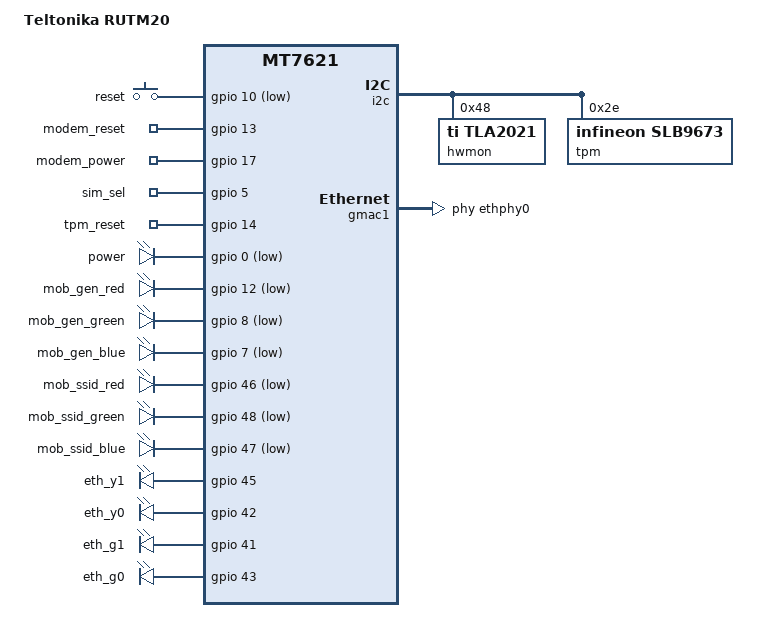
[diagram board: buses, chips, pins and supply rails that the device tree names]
#include "mt7621-teltonika-rutm-common.dtsi"

/ {
	compatible = "teltonika,rutm", "mediatek,mt7621-soc";
	model = "Teltonika RUTM20";

	keys {
		compatible = "gpio-keys";

		reset {
			label = "reset";
			gpios = <&gpio 10 GPIO_ACTIVE_LOW>;
			linux,code = <KEY_RESTART>;
		};
	};

	gpio-export {
		compatible = "gpio-export";
		#size-cells = <0>;

		gpio_modem_reset {
			gpio-export,name = "modem_reset";
			gpio-export,output = <0>;
			gpios = <&gpio 13 GPIO_ACTIVE_HIGH>;
		};

		gpio_modem_power {
			gpio-export,name = "modem_power";
			gpio-export,output = <1>; // tmp
			gpios = <&gpio 17 GPIO_ACTIVE_HIGH>;
		};

		gpio_sim_select {
			gpio-export,name = "sim_sel";
			gpio-export,output = <0>;
			gpios = <&gpio 5 GPIO_ACTIVE_HIGH>;
		};

		gpio_tpm_reset {
			gpio-export,name = "tpm_reset";
			gpio-export,output = <1>;
			gpios = <&gpio 14 GPIO_ACTIVE_HIGH>;
		};
	};

	leds {
		compatible = "gpio-leds";

		led_power {
			label = "power";
			gpios = <&gpio 0 GPIO_ACTIVE_LOW>;
			default-state = "on";
			retain-state-shutdown;
		};

		led_gen_red {
			label = "mob_gen_red";
			gpios = <&gpio 12 GPIO_ACTIVE_LOW>;
		};

		led_gen_green {
			label = "mob_gen_green";
			gpios = <&gpio 8 GPIO_ACTIVE_LOW>;
		};

		led_gen_blue {
			label = "mob_gen_blue";
			gpios = <&gpio 7 GPIO_ACTIVE_LOW>;
		};

		led_ssid_red {
			label = "mob_ssid_red";
			gpios = <&gpio 46 GPIO_ACTIVE_LOW>;
			linux,default-trigger = "timer"; // only
		};

		led_ssid_green {
			label = "mob_ssid_green";
			gpios = <&gpio 48 GPIO_ACTIVE_LOW>;
			linux,default-trigger = "timer"; //only
		};

		led_ssid_blue {
			label = "mob_ssid_blue";
			gpios = <&gpio 47 GPIO_ACTIVE_LOW>;
			linux,default-trigger = "timer"; // only
		};

		led_eth_y1 {
			label = "eth_y1";
			gpios = <&gpio 45 GPIO_ACTIVE_HIGH>;
		};

		led_eth_y0 {
			label = "eth_y0";
			gpios = <&gpio 42 GPIO_ACTIVE_HIGH>;
		};

		led_eth_g1 {
			label = "eth_g1";
			gpios = <&gpio 41 GPIO_ACTIVE_HIGH>;
		};

		led_eth_g0 {
			label = "eth_g0";
			gpios = <&gpio 43 GPIO_ACTIVE_HIGH>;
		};
	};

	tlt_gpios { // Modify according to wiki page "DTS syntax with Libgpiod changes"
		gpiochip_info {
			hw_0 {
				hwver = <0>;
				gpiochip_count = <3>;

				gpiochip_0 = <32>; // Built-in
				gpiochip_1 = <32>; // Built-in
				gpiochip_2 = <32>; // Built-in
			};
		};

		poeman {
			GPIO_16 {
				line_name = "GPIO_4PIN_SIGNAL";
				//active_low
			};
			GPIO_18 {
				line_name = "GPIO_T2P_SIGNAL";
			};
			GPIO_6 {
				line_name = "GPIO_PG_SIGNAL";
			};
			GPIO_44 {
				line_name = "GPIO_PSE_EN";
			};
		};

		misc {
			GPIO_13 {
				line_name = "GPIO_MODEM_RESET_1";
			};
			GPIO_17 {
				line_name = "GPIO_MODEM_POWER_1";
			};
		};
	};

	poeman {
		bus = "/dev/i2c-0";
		pse_en = "GPIO_PSE_EN";
		budget@0 {
			GPIO_PG_SIGNAL = <0>;
			budget = <0>;
		};
		budget@1 {
			GPIO_T2P_SIGNAL = <0>;
			GPIO_PG_SIGNAL = <1>;
			budget = <30200>;
			allowed_deficit = <600>;
		};
		budget@2 {
			GPIO_T2P_SIGNAL = <1>;
			GPIO_PG_SIGNAL = <1>;
			budget = <15000>;
			max_port_power = <7000>;
			allowed_deficit = <300>;
		};
	};
};

&state_default {
	gpio {
		groups = "wdt", "jtag", "sdhci", "uart2", "uart3";
		function = "gpio";
	};
};

&switch0 {
	ports {
		port@1 {
			status = "okay";
			label = "lan";
		};
	};
};

&mnfinfo {
	sim_cfg {
		default = "1111100_1112000_1121200";
		keep-sim-presence;
	};
};

&i2c {
	status = "okay";

	hwmon@0x48 {
		compatible = "ti,tla2021";
		reg = <0x48>;
	};

	tpm: tpm@2e {
		compatible = "infineon,slb9673";
		reg = <0x2e>;
		status = "okay";
	};
};

&gmac1 {
	phy-handle = <&ethphy0>;
};

&ethphy0 {
	/delete-property/ interrupts;
};
